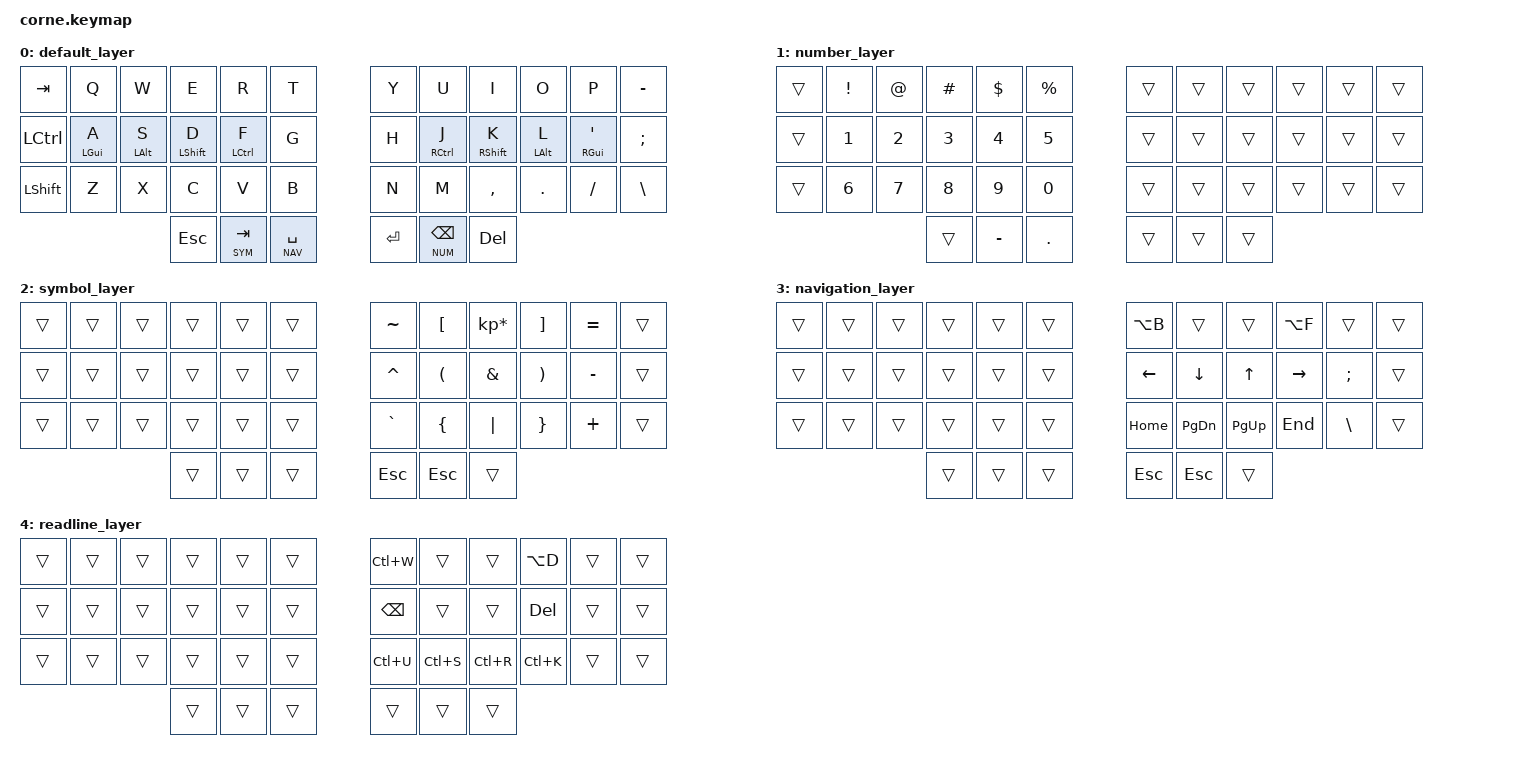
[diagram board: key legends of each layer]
/*
 * Copyright (c) 2020 The ZMK Contributors
 *
 * SPDX-License-Identifier: MIT
 */

#include <behaviors.dtsi>
#include <dt-bindings/zmk/keys.h>
#include <dt-bindings/zmk/bt.h>

#define ___ &trans
#define KP_STAR KP_MULTIPLY

#define BASE 0
#define NUM 1
#define SYM 2
#define NAV 3
#define RDL 4

&lt {
    quick_tap_ms = <150>;
};

/ {

        #include "combos.dtsi"

        behaviors {

            hm: homerow_mods {
                compatible = "zmk,behavior-hold-tap";
                label = "HOMEROW_MODS";
                #binding-cells = <2>;
                tapping-term-ms = <180>;
                quick_tap_ms = <0>;
                flavor = "tap-preferred";
                bindings = <&kp>, <&kp>;
            };
        };

        keymap {
                compatible = "zmk,keymap";

                default_layer {
// -----------------------------------------------------------------------------------------
// |  TAB |  Q  |  W  |  E  |  R  |  T  |   |  Y  |  U   |  I  |  O  |  P  |  -   |
// | CTRL |  A  |  S  |  D  |  F  |  G  |   |  H  |  J   |  K  |  L  |  '  |  ;   |
// | SHFT |  Z  |  X  |  C  |  V  |  B  |   |  N  |  M   |  ,  |  .  |  /  |  \   |
//                    | ESC | TAB | SPC |   | ENT | BSPC | DEL |
                        bindings = <
   &kp TAB   &kp Q &kp W &kp E &kp R &kp T   &kp Y &kp U  &kp I     &kp O   &kp P    &kp MINUS
   &kp LCTRL &hm LGUI A &hm LALT S &hm LSHFT D &hm LCTRL F &kp G   &kp H &hm RCTRL J &hm RSHFT K &hm LALT L &hm RGUI SQT &kp SEMI
   &kp LSHFT &kp Z &kp X &kp C &kp V &kp B   &kp N &kp M  &kp COMMA &kp DOT &kp FSLH &kp BSLH
         &kp ESC &lt SYM TAB &lt NAV SPACE   &kp RET &lt NUM BSPC &kp DEL
                        >;
                };

                number_layer {
// -----------------------------------------------------------------------------------------
// |      |  !  |  @  |  #  |  $  |  %  |   |     |     |     |     |     |      |
// |      |  1  |  2  |  3  |  4  |  5  |   |     |     |     |     |     |      |
// |      |  6  |  7  |  8  |  9  |  0  |   |     |     |     |     |     |      |
//                    |     |  -  |  .  |   |     |     |     |
                        bindings = <
   &trans    &kp EXCL     &kp AT       &kp HASH     &kp DLLR     &kp PRCNT   &trans   &trans   &trans &trans    &trans &trans
   &trans    &kp N1       &kp N2       &kp N3       &kp N4       &kp N5      &trans   &trans   &trans &trans    &trans &trans
   &trans    &kp N6       &kp N7       &kp N8       &kp N9       &kp N0      &trans   &trans   &trans &trans    &trans &trans
                          &trans       &kp MINUS    &kp DOT      &trans   &trans   &trans
                        >;
                };
    symbol_layer {
      bindings = <
        // ╭─────────────┬─────────────┬─────────────┬─────────────┬─────────────┬─────────────╮   ╭─────────────┬─────────────┼─────────────┬─────────────┬─────────────┬─────────────╮
             ___           ___           ___           ___           ___           ___               &kp TILDE     &kp LBKT      &kp KP_STAR   &kp RBKT      &kp EQUAL     ___
        // ├─────────────┼─────────────┼─────────────┼─────────────┬─────────────┼─────────────┤   ├─────────────┼─────────────┼─────────────┼─────────────┼─────────────┼─────────────┤
             ___           ___           ___           ___           ___           ___               &kp CARET     &kp LPAR      &kp AMPS      &kp RPAR      &kp MINUS     ___
        // ├─────────────┼─────────────┼─────────────┼─────────────┬─────────────┼─────────────┤   ├─────────────┼─────────────┼─────────────┼─────────────┼─────────────┼─────────────┤
             ___           ___           ___           ___           ___           ___               &kp GRAVE     &kp LBRC      &kp PIPE      &kp RBRC      &kp PLUS      ___
        // ╰─────────────┴─────────────┴─────────────┼─────────────┬─────────────┼─────────────┤   ├─────────────┼─────────────┼─────────────┼─────────────┴─────────────┴─────────────╯
                                                       ___           ___           ___               &kp ESC       &kp ESC       ___
        //                                           ╰─────────────┴─────────────┬─────────────╯   ╰─────────────┼─────────────┴─────────────╯
      >;
    };
    navigation_layer {
      bindings = <
        // ╭─────────────┬─────────────┬─────────────┬─────────────┬─────────────┬─────────────╮   ╭─────────────┬─────────────┼─────────────┬─────────────┬─────────────┬─────────────╮
             ___           ___           ___           ___           ___           ___               &kp LA(B)     ___           ___           &kp LA(F)     ___           ___
        // ├─────────────┼─────────────┼─────────────┼─────────────┬─────────────┼─────────────┤   ├─────────────┼─────────────┼─────────────┼─────────────┼─────────────┼─────────────┤
             ___           ___           ___           ___           ___           ___               &kp LEFT      &kp DOWN      &kp UP        &kp RIGHT     &kp SEMI      ___
        // ├─────────────┼─────────────┼─────────────┼─────────────┬─────────────┼─────────────┤   ├─────────────┼─────────────┼─────────────┼─────────────┼─────────────┼─────────────┤
             ___           ___           ___           ___           ___           ___               &kp HOME      &kp PG_DN     &kp PG_UP     &kp END       &kp BSLH      ___
        // ╰─────────────┴─────────────┴─────────────┼─────────────┬─────────────┼─────────────┤   ├─────────────┼─────────────┼─────────────┼─────────────┴─────────────┴─────────────╯
                                                       ___           ___           ___               &kp ESC       &kp ESC       ___
        //                                           ╰─────────────┴─────────────┬─────────────╯   ╰─────────────┼─────────────┴─────────────╯
      >;
    };
    readline_layer {
      bindings = <
        // ╭─────────────┬─────────────┬─────────────┬─────────────┬─────────────┬─────────────╮   ╭─────────────┬─────────────┼─────────────┬─────────────┬─────────────┬─────────────╮
             ___           ___           ___           ___           ___           ___               &kp LC(W)     ___           ___           &kp LA(D)     ___           ___
        // ├─────────────┼─────────────┼─────────────┼─────────────┬─────────────┼─────────────┤   ├─────────────┼─────────────┼─────────────┼─────────────┼─────────────┼─────────────┤
             ___           ___           ___           ___           ___           ___               &kp BSPC      ___           ___           &kp DEL       ___           ___
        // ├─────────────┼─────────────┼─────────────┼─────────────┬─────────────┼─────────────┤   ├─────────────┼─────────────┼─────────────┼─────────────┼─────────────┼─────────────┤
             ___           ___           ___           ___           ___           ___               &kp LC(U)     &kp LC(S)     &kp LC(R)     &kp LC(K)     ___           ___
        // ╰─────────────┴─────────────┴─────────────┼─────────────┬─────────────┼─────────────┤   ├─────────────┼─────────────┼─────────────┼─────────────┴─────────────┴─────────────╯
                                                       ___           ___           ___               ___           ___           ___
        //                                           ╰─────────────┴─────────────┬─────────────╯   ╰─────────────┼─────────────┴─────────────╯
      >;
    };
  };
};
